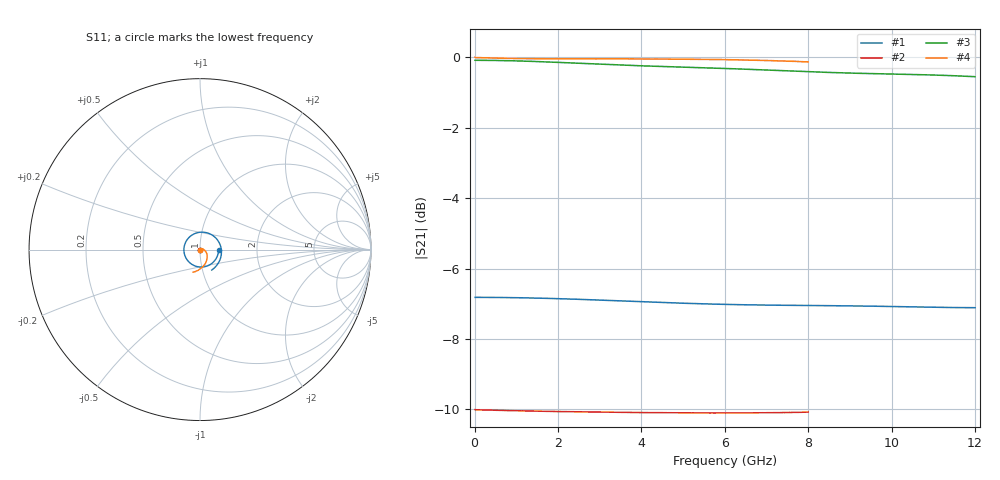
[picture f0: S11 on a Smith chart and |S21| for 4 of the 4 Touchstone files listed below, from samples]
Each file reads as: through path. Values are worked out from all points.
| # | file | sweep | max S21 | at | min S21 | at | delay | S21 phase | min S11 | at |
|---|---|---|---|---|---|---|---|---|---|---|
| 1 | asym_atty.s2p | 12 MHz to 12 GHz | -6.82 dB | 12 MHz | -7.1 dB | 12 GHz | 117 ps | 107 deg at 6.012 GHz | -20.5 dB | 5.004 GHz |
| 2 | att_10db.s2p | 10 MHz to 8 GHz | -10.01 dB | 10 MHz | -10.1 dB | 5.699 GHz | 98.6 ps | -142 deg at 4.005 GHz | -70.4 dB | 10 MHz |
| 3 | good_trace.s2p | 12 MHz to 12 GHz | -0.08 dB | 12 MHz | -0.5 dB | 12 GHz | 115 ps | 111 deg at 6.012 GHz | -64.3 dB | 3.108 GHz |
| 4 | thru.s2p | 10 MHz to 8 GHz | 0.00 dB | 10 MHz | -0.1 dB | 8 GHz | 67.1 ps | -97 deg at 4.005 GHz | -70.4 dB | 16.39 MHz |
